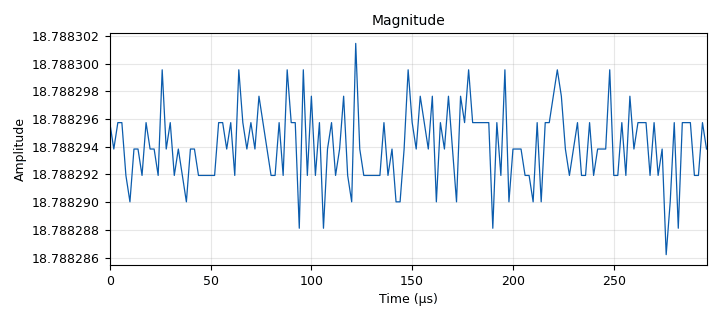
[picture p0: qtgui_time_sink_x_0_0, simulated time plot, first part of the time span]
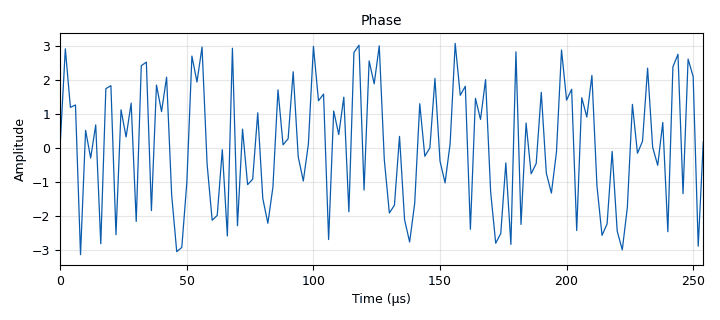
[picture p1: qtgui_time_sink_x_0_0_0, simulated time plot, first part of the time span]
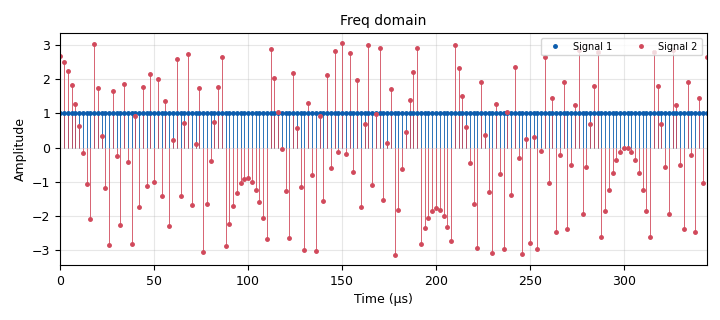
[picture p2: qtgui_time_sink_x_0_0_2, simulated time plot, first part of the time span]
options:
  parameters:
    generate_options: qt_gui
    id: TX_ZC
    output_language: python
    run_options: run
    title: Not titled yet
  states: {}

blocks:
- name: fc
  id: variable
  parameters:
    value: 400e6
  states: {}
- name: fft_len
  id: variable
  parameters:
    value: seq_len
  states: {}
- name: gain_rx
  id: variable
  parameters:
    value: '0.7'
  states: {}
- name: samp_rate
  id: variable
  parameters:
    value: 500e3
  states: {}
- name: samp_rate_rx
  id: variable
  parameters:
    value: samp_rate
  states: {}
- name: seq
  id: variable
  parameters:
    value: ZC.generate(7,seq_len)
  states: {}
- name: seq_len
  id: variable
  parameters:
    value: '353'
  states: {}
- name: ZC
  id: epy_module
  parameters:
    source_code: |
      # this module will be imported in the into your flowgraph
      import numpy as np

      def generate(u=1, seq_length=53, q=0):

          """
          Generate a Zadoff-Chu (ZC) sequence.
          Parameters
          ----------
          u : int
              Root index of the the ZC sequence: u>0.
          seq_length : int
              Length of the sequence to be generated. Usually a prime number:
              u<seq_length, greatest-common-denominator(u,seq_length)=1.
          q : int
              Cyclic shift of the sequence (default 0).
          Returns
          -------
          zcseq : 1D ndarray of complex floats
              ZC sequence generated.
              
         To still put DC to 0, 
         we interleave the ZC sequence with zeros.
       
          """
          
          for el in [u,seq_length,q]:
              if not float(el).is_integer():
                  raise ValueError('{} is not an integer'.format(el))
          if u<=0:
              raise ValueError('u is not stricly positive')
          if u>=seq_length:
              raise ValueError('u is not stricly smaller than seq_length')
              
          if np.gcd(u,seq_length)!=1:
              raise ValueError('the greatest common denominator of u and seq_length is not 1')
              

          cf = seq_length%2
          n = np.arange(seq_length)
          zcseq = np.exp( -1j * np.pi * u * n * (n+cf+2.0*q) / seq_length)
          
          return zcseq
  states: {}
- name: analog_const_source_x_0
  id: analog_const_source_x
  parameters:
    const: '0'
    type: complex
  states: {state: disabled}
- name: blocks_complex_to_mag_1
  id: blocks_complex_to_mag
  parameters: {}
  states: {state: disabled}
- name: blocks_complex_to_mag_1_0
  id: blocks_complex_to_mag
  parameters: {}
  states: {state: disabled}
- name: blocks_complex_to_mag_1_1
  id: blocks_complex_to_mag
  parameters: {}
  states: {state: disabled}
- name: blocks_complex_to_magphase_0
  id: blocks_complex_to_magphase
  parameters: {}
  states: {}
- name: blocks_complex_to_magphase_0_0
  id: blocks_complex_to_magphase
  parameters: {}
  states: {}
- name: blocks_interleave_0
  id: blocks_interleave
  parameters:
    type: complex
  states: {state: disabled}
- name: blocks_patterned_interleaver_0
  id: blocks_patterned_interleaver
  parameters:
    pattern: '[0,1,1,1,1,1,1,1,1]'
    type: complex
    vlen: fft_len
  states: {state: disabled}
- name: blocks_stream_to_vector_0
  id: blocks_stream_to_vector
  parameters:
    num_items: fft_len
    type: complex
  states: {}
- name: blocks_vector_source_x_0
  id: blocks_vector_source_x
  parameters:
    repeat: 'True'
    type: complex
    vector: seq
  states: {}
- name: blocks_vector_source_x_1
  id: blocks_vector_source_x
  parameters:
    repeat: 'True'
    type: complex
    vector: '[0]*fft_len'
    vlen: fft_len
  states: {state: disabled}
- name: blocks_vector_to_stream_0
  id: blocks_vector_to_stream
  parameters:
    num_items: fft_len
    type: complex
  states: {}
- name: fft_vxx_0
  id: fft_vxx
  parameters:
    fft_size: fft_len
    forward: 'False'
    shift: 'True'
    type: complex
    window: ()
  states: {}
- name: low_pass_filter_0
  id: low_pass_filter
  parameters:
    cutoff_freq: samp_rate/2.0
    decim: '1'
    gain: '1'
    samp_rate: samp_rate
    type: fir_filter_ccf
    width: 1e3
    win: window.WIN_HAMMING
  states: {state: disabled}
- name: low_pass_filter_0_0
  id: low_pass_filter
  parameters:
    cutoff_freq: samp_rate/2.0
    decim: '1'
    gain: '1'
    samp_rate: samp_rate
    type: fir_filter_ccf
    width: 1e3
    win: window.WIN_HAMMING
  states: {state: disabled}
- name: low_pass_filter_0_0_0
  id: low_pass_filter
  parameters:
    cutoff_freq: samp_rate/2.0
    decim: '1'
    gain: '1'
    samp_rate: samp_rate
    type: fir_filter_ccf
    width: 1e3
    win: window.WIN_HAMMING
  states: {state: disabled}
- name: low_pass_filter_0_1
  id: low_pass_filter
  parameters:
    cutoff_freq: samp_rate/2.0
    decim: '1'
    gain: '1'
    samp_rate: samp_rate
    type: fir_filter_ccf
    width: 1e3
    win: window.WIN_HAMMING
  states: {state: disabled}
- name: qtgui_time_sink_x_0_0
  id: qtgui_time_sink_x
  parameters:
    autoscale: 'True'
    gui_hint: (1,0)
    name: '"Magnitude"'
    size: fft_len*2
    srate: samp_rate
    type: float
  states: {}
- name: qtgui_time_sink_x_0_0_0
  id: qtgui_time_sink_x
  parameters:
    autoscale: 'True'
    gui_hint: (2,0)
    name: '"Phase"'
    size: fft_len*2
    srate: samp_rate
    type: float
  states: {}
- name: qtgui_time_sink_x_0_0_0_0
  id: qtgui_time_sink_x
  parameters:
    autoscale: 'True'
    gui_hint: (3,0)
    name: '"Phase"'
    size: seq_len
    srate: samp_rate
    type: float
  states: {state: disabled}
- name: qtgui_time_sink_x_0_0_0_0_0
  id: qtgui_time_sink_x
  parameters:
    autoscale: 'True'
    gui_hint: (4,0)
    name: '"Phase"'
    size: seq_len
    srate: samp_rate
    type: float
  states: {state: disabled}
- name: qtgui_time_sink_x_0_0_0_0_1
  id: qtgui_time_sink_x
  parameters:
    autoscale: 'True'
    gui_hint: (5,0)
    name: '"Phase"'
    size: seq_len
    srate: samp_rate
    type: float
  states: {state: disabled}
- name: qtgui_time_sink_x_0_0_2
  id: qtgui_time_sink_x
  parameters:
    alpha1: '0.5'
    alpha2: '0.5'
    autoscale: 'True'
    gui_hint: (0,0)
    marker1: '0'
    marker2: '1'
    name: '"Freq domain"'
    nconnections: '2'
    size: fft_len
    srate: samp_rate
    stemplot: 'True'
    type: float
  states: {}
- name: uhd_usrp_sink_0_0
  id: uhd_usrp_sink
  parameters:
    ant0: '"TX/RX"'
    center_freq0: fc
    clock_source0: external
    dev_addr: '"serial=31DEAD2"'
    gain0: '0.5'
    gain_type0: normalized
    samp_rate: samp_rate
    sync: pc_clock
    time_source0: external
    type: fc32
  states: {}
- name: uhd_usrp_source_0
  id: uhd_usrp_source
  parameters:
    ant0: '"RX2"'
    ant1: '"RX2"'
    center_freq0: fc
    center_freq1: fc
    clock_source0: external
    dev_addr: '"serial=31E2BD7"'
    gain0: gain_rx
    gain1: gain_rx
    gain_type0: normalized
    gain_type1: normalized
    nchan: '2'
    rx_agc0: Disabled
    rx_agc1: Disabled
    samp_rate: samp_rate_rx
    sync: pc_clock_next_pps
    time_source0: external
    type: fc32
  states: {state: disabled}
- name: uhd_usrp_source_0_0
  id: uhd_usrp_source
  parameters:
    ant0: '"RX2"'
    ant1: '"RX2"'
    center_freq0: fc
    center_freq1: fc
    clock_source0: external
    dev_addr: '"serial=31E2C39"'
    gain0: gain_rx
    gain1: gain_rx
    gain_type0: normalized
    gain_type1: normalized
    nchan: '2'
    rx_agc0: Disabled
    rx_agc1: Disabled
    samp_rate: samp_rate_rx
    sync: pc_clock_next_pps
    time_source0: external
    type: fc32
  states: {state: disabled}
- name: xcorr_0
  id: xcorr
  parameters:
    fft_len: fft_len
  states: {state: disabled}
- name: xcorr_0_0
  id: xcorr
  parameters:
    fft_len: fft_len
  states: {state: disabled}
- name: xcorr_0_1
  id: xcorr
  parameters:
    fft_len: fft_len
  states: {state: disabled}

connections:
- [analog_const_source_x_0, '0', blocks_interleave_0, '1']
- [blocks_complex_to_mag_1, '0', qtgui_time_sink_x_0_0_0_0, '0']
- [blocks_complex_to_mag_1_0, '0', qtgui_time_sink_x_0_0_0_0_0, '0']
- [blocks_complex_to_mag_1_1, '0', qtgui_time_sink_x_0_0_0_0_1, '0']
- [blocks_complex_to_magphase_0, '0', qtgui_time_sink_x_0_0, '0']
- [blocks_complex_to_magphase_0, '1', qtgui_time_sink_x_0_0_0, '0']
- [blocks_complex_to_magphase_0_0, '0', qtgui_time_sink_x_0_0_2, '0']
- [blocks_complex_to_magphase_0_0, '1', qtgui_time_sink_x_0_0_2, '1']
- [blocks_interleave_0, '0', blocks_complex_to_magphase_0_0, '0']
- [blocks_interleave_0, '0', blocks_stream_to_vector_0, '0']
- [blocks_patterned_interleaver_0, '0', blocks_vector_to_stream_0, '0']
- [blocks_stream_to_vector_0, '0', fft_vxx_0, '0']
- [blocks_vector_source_x_0, '0', blocks_complex_to_magphase_0_0, '0']
- [blocks_vector_source_x_0, '0', blocks_interleave_0, '0']
- [blocks_vector_source_x_0, '0', blocks_stream_to_vector_0, '0']
- [blocks_vector_source_x_1, '0', blocks_patterned_interleaver_0, '0']
- [blocks_vector_to_stream_0, '0', blocks_complex_to_magphase_0, '0']
- [blocks_vector_to_stream_0, '0', uhd_usrp_sink_0_0, '0']
- [fft_vxx_0, '0', blocks_patterned_interleaver_0, '1']
- [fft_vxx_0, '0', blocks_vector_to_stream_0, '0']
- [low_pass_filter_0, '0', xcorr_0, '0']
- [low_pass_filter_0_0, '0', xcorr_0, '1']
- [low_pass_filter_0_0, '0', xcorr_0_1, '0']
- [low_pass_filter_0_0_0, '0', xcorr_0_0, '1']
- [low_pass_filter_0_1, '0', xcorr_0_0, '0']
- [low_pass_filter_0_1, '0', xcorr_0_1, '1']
- [uhd_usrp_source_0, '0', low_pass_filter_0_1, '0']
- [uhd_usrp_source_0, '1', low_pass_filter_0_0_0, '0']
- [uhd_usrp_source_0_0, '0', low_pass_filter_0, '0']
- [uhd_usrp_source_0_0, '1', low_pass_filter_0_0, '0']
- [xcorr_0, '0', blocks_complex_to_mag_1, '0']
- [xcorr_0_0, '0', blocks_complex_to_mag_1_0, '0']
- [xcorr_0_1, '0', blocks_complex_to_mag_1_1, '0']

metadata:
  file_format: 1
